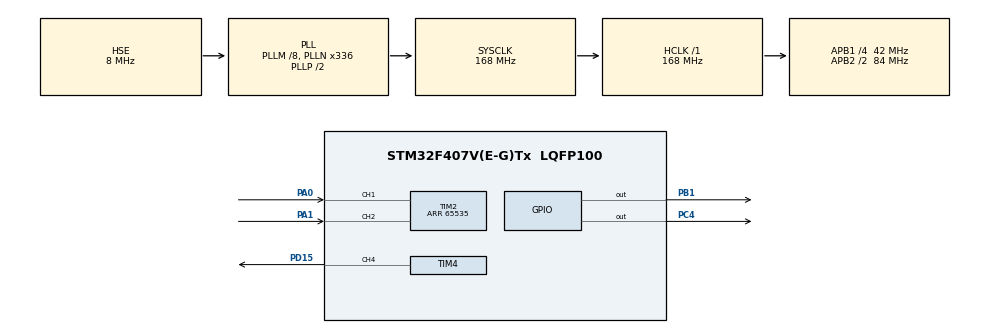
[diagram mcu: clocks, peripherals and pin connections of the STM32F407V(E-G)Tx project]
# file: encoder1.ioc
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Mcu.Family=STM32F4
Mcu.Name=STM32F407V(E-G)Tx
Mcu.Package=LQFP100
NVIC.PriorityGroup=NVIC_PRIORITYGROUP_0
PA0-WKUP.Signal=S_TIM2_CH1_ETR
PA1.Signal=S_TIM2_CH2
PA13.Mode=Serial_Wire
PA13.Signal=SYS_JTMS-SWDIO
PA14.Mode=Serial_Wire
PA14.Signal=SYS_JTCK-SWCLK
PB1.Signal=GPIO_Output
PC4.Signal=GPIO_Output
PD15.Signal=S_TIM4_CH4
PH0-OSC_IN.Mode=HSE-External-Oscillator
PH0-OSC_IN.Signal=RCC_OSC_IN
PH1-OSC_OUT.Mode=HSE-External-Oscillator
PH1-OSC_OUT.Signal=RCC_OSC_OUT
ProjectManager.HeapSize=0x200
ProjectManager.StackSize=0x400
ProjectManager.TargetToolchain=Makefile
RCC.48MHZClocksFreq_Value=48000000
RCC.AHBFreq_Value=168000000
RCC.APB1CLKDivider=RCC_HCLK_DIV4
RCC.APB1Freq_Value=42000000
RCC.APB1TimFreq_Value=84000000
RCC.APB2CLKDivider=RCC_HCLK_DIV2
RCC.APB2Freq_Value=84000000
RCC.APB2TimFreq_Value=168000000
RCC.CortexFreq_Value=168000000
RCC.HCLKFreq_Value=168000000
RCC.HSE_VALUE=8000000
RCC.HSI_VALUE=16000000
RCC.LSE_VALUE=32768
RCC.PLLM=8
RCC.PLLN=336
RCC.PLLQ=7
RCC.PLLSourceVirtual=RCC_PLLSOURCE_HSE
RCC.SYSCLKFreq_VALUE=168000000
RCC.SYSCLKSource=RCC_SYSCLKSOURCE_PLLCLK
RCC.VCOOutputFreq_Value=336000000
SH.S_TIM2_CH1_ETR.0=TIM2_CH1,Encoder_Interface
SH.S_TIM2_CH2.0=TIM2_CH2,Encoder_Interface
SH.S_TIM4_CH4.0=TIM4_CH4,PWM Generation4 CH4
TIM2.EncoderMode=TIM_ENCODERMODE_TI12
TIM2.Period=65535
TIM4.Channel-PWM\ Generation4\ CH4=TIM_CHANNEL_4
TIM4.Period=9999
TIM4.Prescaler=167
board=STM32F407G-DISC1

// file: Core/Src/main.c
/* USER CODE BEGIN Header */
/**
  ******************************************************************************
  * @file           : main.c
  * @brief          : Main program body
  ******************************************************************************
  * @attention
  *
  * Copyright (c) 2024 STMicroelectronics.
  * All rights reserved.
  *
  * This software is licensed under terms that can be found in the LICENSE file
  * in the root directory of this software component.
  * If no LICENSE file comes with this software, it is provided AS-IS.
  *
  ******************************************************************************
  */
/* USER CODE END Header */
#include "main.h"
#include "tim.h"
#include "gpio.h"

/* USER CODE BEGIN Includes */
#include<stdio.h>

/* USER CODE END Includes */

void SystemClock_Config(void);
/* USER CODE BEGIN PFP */

  // TIM2 encoder mode 3. RM0090 Rev 18, Pg. 552

/* USER CODE END PFP */

/* USER CODE BEGIN 0 */
 int16_t prev_count = 0;
 #define PPR  64
 #define PI 3.14
 #define SAMPLE_TIME 400

 float get_omega(){
   int16_t count = htim2.Instance->CNT;
   float omega = ((count - prev_count) * 2 * PI * 1000/ PPR) / SAMPLE_TIME;
   prev_count = count;
   return omega;
 }
 void init(void)
{
  // Encoder pins config: PA0 and PA1
  RCC->AHB1ENR |= RCC_AHB1ENR_GPIOAEN;
  GPIOA->MODER |= GPIO_MODER_MODER0_1 | GPIO_MODER_MODER1_1;
  GPIOA->AFR[0] |= (1 << 0 * 4) | (1 << 1 * 4);

  // TIM2 encoder mode 3. RM0090 Rev 18, Pg. 552
  RCC->APB1ENR |= RCC_APB1ENR_TIM2EN;
  TIM2->SMCR |= TIM_SMCR_SMS_0 | TIM_SMCR_SMS_1;
  TIM2->CCER &= ~(TIM_CCER_CC1NP | TIM_CCER_CC1P);
  TIM2->CCER &= ~(TIM_CCER_CC2NP | TIM_CCER_CC2P);
  TIM2->CCMR1 |= TIM_CCMR1_CC1S_0 | TIM_CCMR1_CC2S_0;
  TIM2->CCMR1 &= ~(TIM_CCMR1_IC1F_0 | TIM_CCMR1_IC1F_1 | TIM_CCMR1_IC1F_2 | TIM_CCMR1_IC1F_3);
  TIM2->CCMR1 &= ~(TIM_CCMR1_IC2F_0 | TIM_CCMR1_IC2F_1 | TIM_CCMR1_IC2F_2 | TIM_CCMR1_IC2F_3);
  TIM2->CR1 |=TIM_CR1_CEN;
}
int32_t get_count(void)
{
  return TIM2->CNT;
 }

float omega = 0.0;
int count = 0;
/* USER CODE END 0 */

int main(void)
{

  /* MCU Configuration--------------------------------------------------------*/

  /* Reset of all peripherals, Initializes the Flash interface and the Systick. */
  HAL_Init();

  /* Configure the system clock */
  SystemClock_Config();

  /* Initialize all configured peripherals */
  MX_GPIO_Init();
  MX_TIM2_Init();
  MX_TIM4_Init();
  /* USER CODE BEGIN 2 */

 //HAL_TIM_PWM_Start(&htim9,TIM_CHANNEL_1);
 HAL_TIM_PWM_Start(&htim4,TIM_CHANNEL_4);
 HAL_TIM_Encoder_Start(&htim2,TIM_CHANNEL_1);
  /* USER CODE END 2 */

  /* Infinite loop */
  while (1)
  {

    /* USER CODE BEGIN 3 */
   // printf("helloworld\n");
    //HAL_Delay(1000);
    //HAL_GPIO_ReadPin(GPIOA,GPIO_PIN_4)
   // HAL_GetTick();
    //uint32_t start = HAL_GetTick();
    // start = HAL_GetTick();
    //int16_t count = htim2.Instance->CNT;
    TIM4->CCR4= 1000;
    //HAL_GPIO_WritePin(GPIOB, GPIO_PIN_0, GPIO_PIN_RESET);
    //HAL_GPIO_WritePin(GPIOE, GPIO_PIN_7, GPIO_PIN_SET);
    HAL_GPIO_WritePin(GPIOC,GPIO_PIN_4,1);
    HAL_GPIO_WritePin(GPIOB,GPIO_PIN_1,0);
    //

    // HAL_Delay(3000);
    // HAL_GPIO_WritePin(GPIOC,GPIO_PIN_14,0);
    // HAL_GPIO_WritePin(GPIOE,GPIO_PIN_3,1);
    // TIM9->CCR1 = 2000;

   // HAL_Delay(3000);

   // cnt = htim2.Instance->CNT;
     omega = get_omega();
     printf("Switch Released,Encoder Ticks = %f\n", omega);
     count = get_count();
   // printf("count ::%d\n", cnt);
     printf("count :: %ld\n",get_count);

   // HAL_Delay(SAMPLE_TIME);
  }
  /* USER CODE END 3 */
}

void SystemClock_Config(void)
{
  RCC_OscInitTypeDef RCC_OscInitStruct = {0};
  RCC_ClkInitTypeDef RCC_ClkInitStruct = {0};

  /** Configure the main internal regulator output voltage
  */
  __HAL_RCC_PWR_CLK_ENABLE();
  __HAL_PWR_VOLTAGESCALING_CONFIG(PWR_REGULATOR_VOLTAGE_SCALE1);

  /** Initializes the RCC Oscillators according to the specified parameters
  * in the RCC_OscInitTypeDef structure.
  */
  RCC_OscInitStruct.OscillatorType = RCC_OSCILLATORTYPE_HSE;
  RCC_OscInitStruct.HSEState = RCC_HSE_ON;
  RCC_OscInitStruct.PLL.PLLState = RCC_PLL_ON;
  RCC_OscInitStruct.PLL.PLLSource = RCC_PLLSOURCE_HSE;
  RCC_OscInitStruct.PLL.PLLM = 8;
  RCC_OscInitStruct.PLL.PLLN = 336;
  RCC_OscInitStruct.PLL.PLLP = RCC_PLLP_DIV2;
  RCC_OscInitStruct.PLL.PLLQ = 7;
  if (HAL_RCC_OscConfig(&RCC_OscInitStruct) != HAL_OK)
  {
    Error_Handler();
  }

  /** Initializes the CPU, AHB and APB buses clocks
  */
  RCC_ClkInitStruct.ClockType = RCC_CLOCKTYPE_HCLK|RCC_CLOCKTYPE_SYSCLK
                              |RCC_CLOCKTYPE_PCLK1|RCC_CLOCKTYPE_PCLK2;
  RCC_ClkInitStruct.SYSCLKSource = RCC_SYSCLKSOURCE_PLLCLK;
  RCC_ClkInitStruct.AHBCLKDivider = RCC_SYSCLK_DIV1;
  RCC_ClkInitStruct.APB1CLKDivider = RCC_HCLK_DIV4;
  RCC_ClkInitStruct.APB2CLKDivider = RCC_HCLK_DIV2;

  if (HAL_RCC_ClockConfig(&RCC_ClkInitStruct, FLASH_LATENCY_5) != HAL_OK)
  {
    Error_Handler();
  }
}

void Error_Handler(void)
{
  __disable_irq();
  while (1)
  {
  }
}
